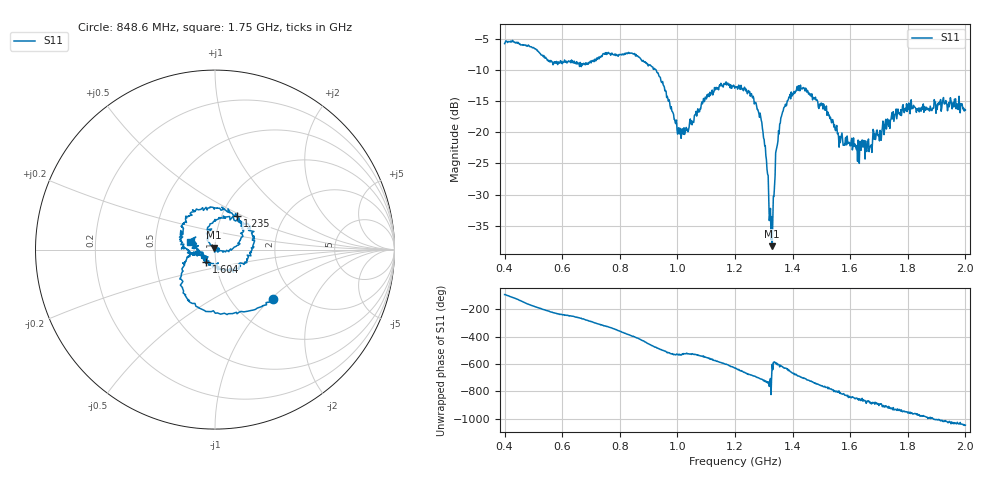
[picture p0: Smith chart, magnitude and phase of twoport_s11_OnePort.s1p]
!Created with skrf (http://scikit-rf.org).
# Hz S RI R 50.0
!freq ReS11 ImS11
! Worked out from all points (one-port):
!   800 points, 400 MHz to 2 GHz, reference 50 ohm
!   lowest |S11| = -38.3 dB at 1.329 GHz (marker M1), VSWR 1.02, Z = 49.4 + j1.06 ohm
!   |S11| at or under -10 dB: 925.9 MHz to end of sweep
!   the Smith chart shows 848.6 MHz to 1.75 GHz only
!   S11 on the Smith chart (normalised r, x): 848.6 MHz: 1.52, -1.03; 1.235 GHz: 1.18, +0.47; 1.604 GHz: 0.90, -0.12; 1.75 GHz: 0.75, +0.07
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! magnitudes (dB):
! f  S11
! 400 MHz  -5.8
! 600.3 MHz  -9.0
! 800.5 MHz  -7.5
! 848.6 MHz  -7.5
! 932.7 MHz  -10.5
! 1.001 GHz  -20.3
! 1.033 GHz  -19.6
! 1.143 GHz  -13.2
! 1.201 GHz  -12.7
! 1.235 GHz  -13.0
! 1.265 GHz  -14.6
! 1.289 GHz  -17.5
! 1.307 GHz  -23.7
! 1.323 GHz  -32.2
! 1.329 GHz  -38.3
! 1.347 GHz  -22.0
! 1.357 GHz  -18.6
! 1.401 GHz  -13.7
! 1.445 GHz  -12.9
! 1.509 GHz  -15.7
! 1.569 GHz  -20.5
! 1.602 GHz  -22.2
! 1.604 GHz  -21.4
! 1.668 GHz  -22.5
! 1.75 GHz  -16.7
! 1.802 GHz  -16.4
! 1.928 GHz  -15.5
! 2 GHz  -16.4
